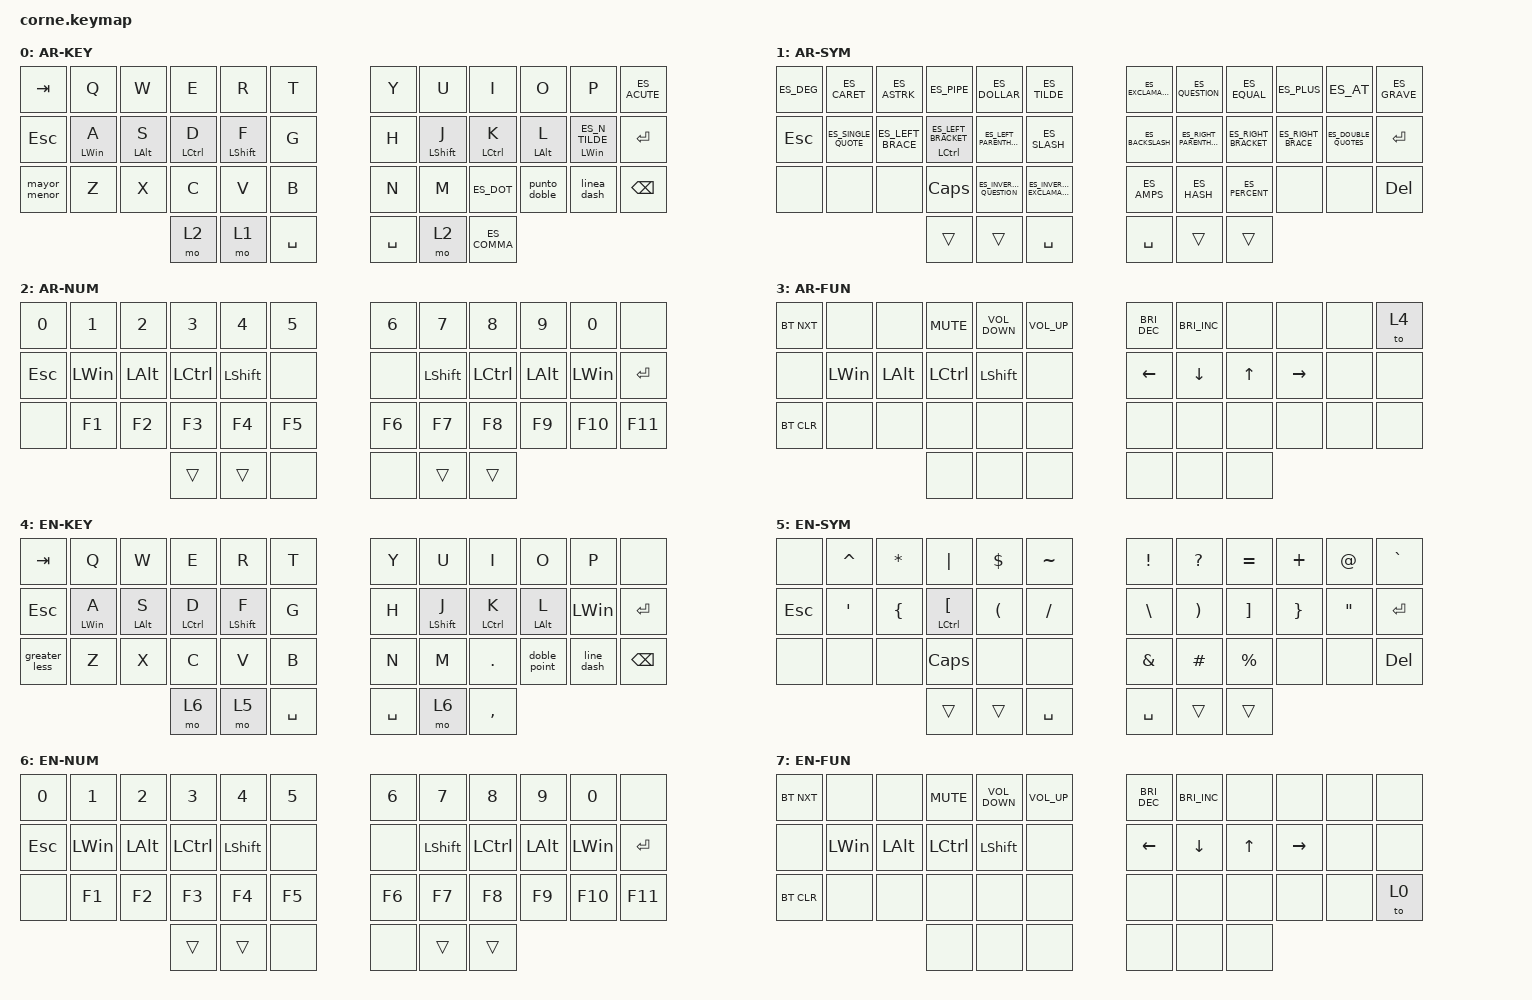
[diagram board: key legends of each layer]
#include <behaviors.dtsi>
#include <dt-bindings/zmk/bt.h>
#include <dt-bindings/zmk/keys.h>
#include "keys_es_latin_american.h"

/ {
    combos { compatible = "zmk,combos"; };

    behaviors {
        tap_hold_150: tap_hold_150 {
            compatible = "zmk,behavior-hold-tap";
            label = "TAP_HOLD_150";
            bindings = <&kp>, <&kp>;

            #binding-cells = <2>;
            tapping-term-ms = <150>;
            require-prior-idle-ms = <100>;
            quick-tap-ms = <150>;
            flavor = "tap-preferred";
        };

        punto_doble: punto_doble {
            compatible = "zmk,behavior-mod-morph";
            label = "PUNTO_DOBLE";
            bindings = <&kp ES_COLON>, <&kp ES_SEMICOLON>;

            #binding-cells = <0>;
            mods = <(MOD_LSFT)>;
        };

        linea_dash: linea_dash {
            compatible = "zmk,behavior-mod-morph";
            label = "LINEA_DASH";
            bindings = <&kp ES_MINUS>, <&kp ES_UNDERSCORE>;

            #binding-cells = <0>;
            mods = <(MOD_LSFT)>;
        };

        mayor_menor: mayor_menor {
            compatible = "zmk,behavior-mod-morph";
            label = "MAYOR_MENOR";
            bindings = <&kp ES_LT>, <&kp ES_GT>;

            #binding-cells = <0>;
            mods = <(MOD_LSFT)>;
        };

        hold_tap_250: hold_tap_250 {
            compatible = "zmk,behavior-hold-tap";
            label = "HOLD_TAP_250";
            bindings = <&kp>, <&kp>;

            #binding-cells = <2>;
            tapping-term-ms = <250>;
            require-prior-idle-ms = <100>;
            quick-tap-ms = <250>;
            flavor = "tap-preferred";
        };

        greater_less: greater_less {
            compatible = "zmk,behavior-mod-morph";
            label = "GREATER_LESS";
            bindings = <&kp LT>, <&kp GT>;

            #binding-cells = <0>;
            mods = <(MOD_LSFT)>;
        };

        doble_point: doble_point {
            compatible = "zmk,behavior-mod-morph";
            label = "DOBLE_POINT";
            bindings = <&kp COLON>, <&kp SEMI>;

            #binding-cells = <0>;
            mods = <(MOD_LSFT)>;
        };

        line_dash: line_dash {
            compatible = "zmk,behavior-mod-morph";
            label = "LINE_DASH";
            bindings = <&kp MINUS>, <&kp UNDER>;

            #binding-cells = <0>;
            mods = <(MOD_LSFT)>;
        };
    };

    keymap {
        compatible = "zmk,keymap";

        Teclas {
            bindings = <
&kp TAB       &kp Q                     &kp W                     &kp E                         &kp R                       &kp T        &kp Y      &kp U                       &kp I                         &kp O                     &kp P                              &kp ES_ACUTE
&kp ESCAPE    &hold_tap_250 LEFT_WIN A  &hold_tap_250 LEFT_ALT S  &tap_hold_150 LEFT_CONTROL D  &tap_hold_150 LEFT_SHIFT F  &kp G        &kp H      &tap_hold_150 LEFT_SHIFT J  &tap_hold_150 LEFT_CONTROL K  &hold_tap_250 LEFT_ALT L  &hold_tap_250 LEFT_WIN ES_N_TILDE  &kp ENTER
&mayor_menor  &kp Z                     &kp X                     &kp C                         &kp V                       &kp B        &kp N      &kp M                       &kp ES_DOT                    &punto_doble              &linea_dash                        &kp BACKSPACE
                                                                  &mo 2                         &mo 1                       &kp SPACE    &kp SPACE  &mo 2                       &kp ES_COMMA
            >;

            label = "AR-KEY";
        };

        Simbolos {
            bindings = <
&kp ES_DEG  &kp ES_CARET         &kp ES_ASTRK       &kp ES_PIPE                          &kp ES_DOLLAR             &kp ES_TILDE                   &kp ES_EXCLAMATION  &kp ES_QUESTION           &kp ES_EQUAL          &kp ES_PLUS         &kp ES_AT             &kp ES_GRAVE
&kp ESCAPE  &kp ES_SINGLE_QUOTE  &kp ES_LEFT_BRACE  &hold_tap_250 LCTRL ES_LEFT_BRACKET  &kp ES_LEFT_PARENTHESIS   &kp ES_SLASH                   &kp ES_BACKSLASH    &kp ES_RIGHT_PARENTHESIS  &kp ES_RIGHT_BRACKET  &kp ES_RIGHT_BRACE  &kp ES_DOUBLE_QUOTES  &kp ENTER
&none       &none                &none              &kp CAPSLOCK                         &kp ES_INVERTED_QUESTION  &kp ES_INVERTED_EXCLAMATION    &kp ES_AMPS         &kp ES_HASH               &kp ES_PERCENT        &none               &none                 &kp DELETE
                                                    &trans                               &trans                    &kp SPACE                      &kp SPACE           &trans                    &trans
            >;

            label = "AR-SYM";
        };

        Numeros {
            bindings = <
&kp N0      &kp N1        &kp N2        &kp N3            &kp N4          &kp N5    &kp N6  &kp N7          &kp N8            &kp N9        &kp N0        &none
&kp ESCAPE  &kp LEFT_WIN  &kp LEFT_ALT  &kp LEFT_CONTROL  &kp LEFT_SHIFT  &none     &none   &kp LEFT_SHIFT  &kp LEFT_CONTROL  &kp LEFT_ALT  &kp LEFT_WIN  &kp ENTER
&none       &kp F1        &kp F2        &kp F3            &kp F4          &kp F5    &kp F6  &kp F7          &kp F8            &kp F9        &kp F10       &kp F11
                                        &trans            &trans          &none     &none   &trans          &trans
            >;

            label = "AR-NUM";
        };

        Funciones {
            bindings = <
&bt BT_NXT  &none         &none         &kp C_MUTE        &kp C_VOLUME_DOWN  &kp C_VOLUME_UP    &kp C_BRIGHTNESS_DEC  &kp C_BRIGHTNESS_INC  &none   &none      &none  &to 4
&none       &kp LEFT_WIN  &kp LEFT_ALT  &kp LEFT_CONTROL  &kp LEFT_SHIFT     &none              &kp LEFT              &kp DOWN              &kp UP  &kp RIGHT  &none  &none
&bt BT_CLR  &none         &none         &none             &none              &none              &none                 &none                 &none   &none      &none  &none
                                        &none             &none              &none              &none                 &none                 &none
            >;

            label = "AR-FUN";
        };

        Keys {
            bindings = <
&kp TAB        &kp Q                     &kp W                     &kp E                         &kp R                       &kp T        &kp Y      &kp U                       &kp I                         &kp O                     &kp P         &none
&kp ESCAPE     &hold_tap_250 LEFT_WIN A  &hold_tap_250 LEFT_ALT S  &tap_hold_150 LEFT_CONTROL D  &tap_hold_150 LEFT_SHIFT F  &kp G        &kp H      &tap_hold_150 LEFT_SHIFT J  &tap_hold_150 LEFT_CONTROL K  &hold_tap_250 LEFT_ALT L  &kp LEFT_WIN  &kp ENTER
&greater_less  &kp Z                     &kp X                     &kp C                         &kp V                       &kp B        &kp N      &kp M                       &kp DOT                       &doble_point              &line_dash    &kp BACKSPACE
                                                                   &mo 6                         &mo 5                       &kp SPACE    &kp SPACE  &mo 6                       &kp COMMA
            >;

            label = "EN-KEY";
        };

        Symbols {
            bindings = <
&none       &kp CARET         &kp STAR        &kp PIPE                          &kp DOLLAR            &kp TILDE    &kp EXCL       &kp QMARK              &kp EQUAL          &kp PLUS         &kp AT             &kp GRAVE
&kp ESCAPE  &kp SINGLE_QUOTE  &kp LEFT_BRACE  &hold_tap_250 LCTRL LEFT_BRACKET  &kp LEFT_PARENTHESIS  &kp SLASH    &kp BACKSLASH  &kp RIGHT_PARENTHESIS  &kp RIGHT_BRACKET  &kp RIGHT_BRACE  &kp DOUBLE_QUOTES  &kp ENTER
&none       &none             &none           &kp CAPSLOCK                      &none                 &none        &kp AMPS       &kp HASH               &kp PERCENT        &none            &none              &kp DELETE
                                              &trans                            &trans                &kp SPACE    &kp SPACE      &trans                 &trans
            >;

            label = "EN-SYM";
        };

        Numbers {
            bindings = <
&kp N0      &kp N1        &kp N2        &kp N3            &kp N4          &kp N5    &kp N6  &kp N7          &kp N8            &kp N9        &kp N0        &none
&kp ESCAPE  &kp LEFT_WIN  &kp LEFT_ALT  &kp LEFT_CONTROL  &kp LEFT_SHIFT  &none     &none   &kp LEFT_SHIFT  &kp LEFT_CONTROL  &kp LEFT_ALT  &kp LEFT_WIN  &kp ENTER
&none       &kp F1        &kp F2        &kp F3            &kp F4          &kp F5    &kp F6  &kp F7          &kp F8            &kp F9        &kp F10       &kp F11
                                        &trans            &trans          &none     &none   &trans          &trans
            >;

            label = "EN-NUM";
        };

        Functions {
            bindings = <
&bt BT_NXT  &none         &none         &kp C_MUTE        &kp C_VOLUME_DOWN  &kp C_VOLUME_UP    &kp C_BRIGHTNESS_DEC  &kp C_BRIGHTNESS_INC  &none   &none      &none  &none
&none       &kp LEFT_WIN  &kp LEFT_ALT  &kp LEFT_CONTROL  &kp LEFT_SHIFT     &none              &kp LEFT              &kp DOWN              &kp UP  &kp RIGHT  &none  &none
&bt BT_CLR  &none         &none         &none             &none              &none              &none                 &none                 &none   &none      &none  &to 0
                                        &none             &none              &none              &none                 &none                 &none
            >;

            label = "EN-FUN";
        };
    };

    conditional_layers {
        compatible = "zmk,conditional-layers";

        Capa_movimiento {
            if-layers = <1 2>;
            then-layer = <3>;
        };

        Capa_juego_numeros {
            if-layers = <5 6>;
            then-layer = <7>;
        };
    };
};

